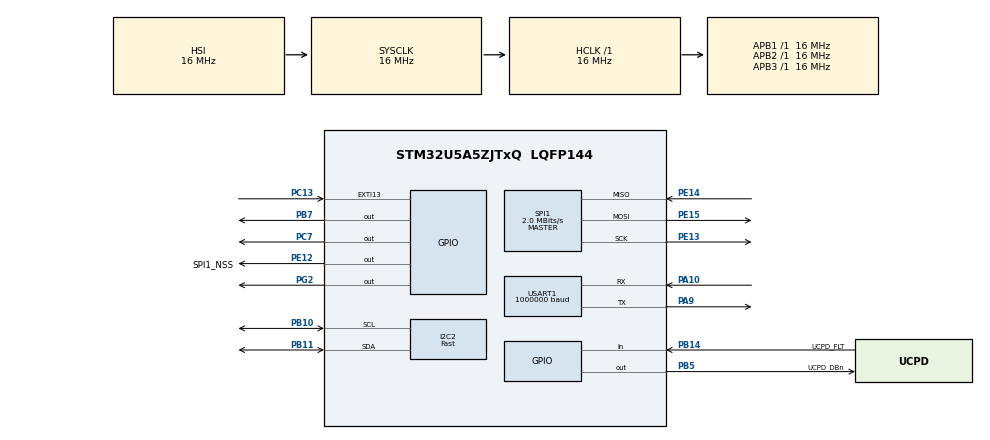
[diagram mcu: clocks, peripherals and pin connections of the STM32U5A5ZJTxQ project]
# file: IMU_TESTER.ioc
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CORTEX_M33_NS.userName=CORTEX_M33
I2C2.I2C_Speed_Mode=I2C_Fast
I2C2.Timing=0x0010061A
Mcu.Family=STM32U5
Mcu.Name=STM32U5A5ZJTxQ
Mcu.Package=LQFP144
NUCLEO-U5A5ZJ-Q.BUTTON=1
NUCLEO-U5A5ZJ-Q.LD1=true
NUCLEO-U5A5ZJ-Q.LD2=true
NUCLEO-U5A5ZJ-Q.LD3=true
NUCLEO-U5A5ZJ-Q.VCP=false
NVIC.EXTI13_IRQn=true\:0\:0\:false\:false\:true\:false\:true\:true
NVIC.PriorityGroup=NVIC_PRIORITYGROUP_4
PA10.Mode=Asynchronous
PA10.Signal=USART1_RX
PA11.Signal=USB_OTG_HS_DM
PA12.Signal=USB_OTG_HS_DP
PA13\ (JTMS/SWDIO).Mode=Trace_Asynchronous_SW
PA13\ (JTMS/SWDIO).Signal=DEBUG_JTMS-SWDIO
PA14\ (JTCK/SWCLK).Mode=Trace_Asynchronous_SW
PA14\ (JTCK/SWCLK).Signal=DEBUG_JTCK-SWCLK
PA15\ (JTDI).Signal=UCPD1_CC1
PA9.Mode=Asynchronous
PA9.Signal=USART1_TX
PB10.Mode=I2C
PB10.Signal=I2C2_SCL
PB11.Mode=I2C
PB11.Signal=I2C2_SDA
PB14.GPIO_Label=UCPD_FLT
PB14.Signal=GPIO_Input
PB15.Signal=UCPD1_CC2
PB3\ (JTDO/TRACESWO).Mode=Trace_Asynchronous_SW
PB3\ (JTDO/TRACESWO).Signal=DEBUG_JTDO-SWO
PB5.GPIO_Label=UCPD_DBn
PB5.Signal=GPIO_Output
PB7.Signal=GPIO_Output
PC13.Signal=GPXTI13
PC14-OSC32_IN\ (PC14).Mode=LSE-External-Oscillator
PC14-OSC32_IN\ (PC14).Signal=RCC_OSC32_IN
PC15-OSC32_OUT\ (PC15).Mode=LSE-External-Oscillator
PC15-OSC32_OUT\ (PC15).Signal=RCC_OSC32_OUT
PC2.GPIO_Label=VBUS_SENSE
PC2.Signal=ADC1_IN3
PC7.Signal=GPIO_Output
PE12.GPIO_Label=SPI1_NSS
PE12.Signal=GPIO_Output
PE13.Mode=Full_Duplex_Master
PE13.Signal=SPI1_SCK
PE14.Mode=Full_Duplex_Master
PE14.Signal=SPI1_MISO
PE15.Mode=Full_Duplex_Master
PE15.Signal=SPI1_MOSI
PG2.Signal=GPIO_Output
PWR.PowerMode=PWR_SMPS_SUPPLY
ProjectManager.HeapSize=0x200
ProjectManager.StackSize=0x400
ProjectManager.TargetToolchain=STM32CubeIDE
RCC.ADCFreq_Value=16000000
RCC.AHBFreq_Value=16000000
RCC.APB1Freq_Value=16000000
RCC.APB1TimFreq_Value=16000000
RCC.APB2Freq_Value=16000000
RCC.APB2TimFreq_Value=16000000
RCC.APB3Freq_Value=16000000
RCC.CortexFreq_Value=16000000
RCC.DACCLockSelectionVirtual=RCC_DAC1CLKSOURCE_LSI
RCC.EPOD_VALUE=48000000
RCC.HCLKFreq_Value=16000000
RCC.HSE_VALUE=8000000
RCC.HSI48_VALUE=48000000
RCC.HSI_VALUE=16000000
RCC.LSIDIV_VALUE=32000
RCC.MSIClockRange=RCC_MSIRANGE_0
RCC.MSI_VALUE=48000000
RCC.PLL1P=8
RCC.PLLFRACN=0
RCC.PLLN=16
RCC.SYSCLKFreq_VALUE=16000000
RCC.SYSCLKSource=RCC_SYSCLKSOURCE_HSI
RCC.VCOOutputFreq_Value=768000000
SPI1.BaudRatePrescaler=SPI_BAUDRATEPRESCALER_8
SPI1.CalculateBaudRate=2.0 MBits/s
SPI1.DataSize=SPI_DATASIZE_8BIT
SPI1.Direction=SPI_DIRECTION_2LINES
SPI1.Mode=SPI_MODE_MASTER
SPI1.NSSPMode=SPI_NSS_PULSE_DISABLE
SPI1.NSSPolarity=SPI_NSS_POLARITY_HIGH
SPI1.VirtualType=VM_MASTER
TIM2.AutoReloadPreload=TIM_AUTORELOAD_PRELOAD_ENABLE
TIM2.Prescaler=16-1
USART1.BaudRate=1000000
USART1.VirtualMode-Asynchronous=VM_ASYNC
VP_ICACHE_VS_ICACHE.Mode=DirectMappedCache
VP_LPBAMQUEUE_VS_QUEUE.Mode=QUEUEMODE
VP_LPBAM_VS_SIG1.Mode=SmartRun
VP_LPBAM_VS_SIG4.Mode=LPDMA1
VP_MEMORYMAP_VS_MEMORYMAP.Mode=CurAppReg
VP_NUCLEO-U5A5ZJ-Q_VS_BSP_COMMON.Mode=COMMON
VP_PWR_VS_DBSignals.Mode=DisableDeadBatterySignals
VP_PWR_VS_LPOM.Mode=PowerOptimisation
VP_PWR_VS_SECSignals.Mode=Security/Privilege
VP_TIM2_VS_ClockSourceINT.Mode=Internal
board=NUCLEO-U5A5ZJ-Q

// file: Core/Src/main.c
/* USER CODE BEGIN Header */
/**
  ******************************************************************************
  * @file           : main.c
  * @brief          : Main program body
  ******************************************************************************
  * @attention
  *
  * Copyright (c) 2025 STMicroelectronics.
  * All rights reserved.
  *
  * This software is licensed under terms that can be found in the LICENSE file
  * in the root directory of this software component.
  * If no LICENSE file comes with this software, it is provided AS-IS.
  *
  ******************************************************************************
  */
/* USER CODE END Header */
#include "main.h"

/* USER CODE BEGIN Includes */
#include <stdio.h>
#include <string.h>
#include <math.h>
#include "lsm6dsv_reg.h"
#include "lsm6dsox_reg.h"
#include "lis2dw12_reg.h"
#include "adxl362_hal.h"
#include "Fusion.h"
/* USER CODE END Includes */

/* USER CODE BEGIN PD */

/* Configuration Macros */
#define IMU_PERFORMANCE_MODE 1  // 0 = Absolute Lowest Power (~2Hz, battery life priority)
                                // 1 = Moderate Performance (~60Hz, balanced power/performance)
                                // 2 = High Performance (~1.5kHz+, real-time control/logging)
#define OUTPUT_FORMAT 0         // 0 = CSV Format, 1 = Human-Readable Format

/* Validate IMU_PERFORMANCE_MODE */
#if (IMU_PERFORMANCE_MODE < 0 || IMU_PERFORMANCE_MODE > 2)
  #error "Invalid IMU_PERFORMANCE_MODE. Valid values are 0 (lowest power), 1 (moderate 60Hz), or 2 (high performance)."
#endif

/* IMU Enable/Disable - Set to 0 to disable a specific IMU at compile time */
#define ENABLE_LSM6DSV  1       // Enable LSM6DSV 6-axis IMU (I2C)
#define ENABLE_LSM6DSOX 0       // Enable LSM6DSOX 6-axis IMU (I2C)
#define ENABLE_LIS2DW12 1       // Enable LIS2DW12 3-axis accelerometer (I2C)
#define ENABLE_ADXL362  1       // Enable ADXL362 3-axis accelerometer (SPI)

/* LSM6DSV Feature Enable/Disable */
#define ENABLE_LSM6DSV_SENSOR_FUSION 1  // Enable SFLP (Sensor Fusion Low Power) for game rotation, gravity vectors, and gyro bias

/* LSM6DSOX Feature Enable/Disable */
#define ENABLE_LSM6DSOX_FUSION 0        // Enable Fusion library sensor fusion for LSM6DSOX (quaternion, Euler angles, linear accel)

/* IMU I2C Addresses */
#define LSM6DSV_I2C_ADDR  (0x6B << 1)  // LSM6DSV address (SDO/SA0 pin high)
#define LSM6DSOX_I2C_ADDR (0x6A << 1)  // LSM6DSOX default address
#define LIS2DW12_I2C_ADDR (0x19 << 1)  // LIS2DW12 default address

/* USER CODE END PD */

I2C_HandleTypeDef hi2c2;

SPI_HandleTypeDef hspi1;

TIM_HandleTypeDef htim2;

UART_HandleTypeDef huart1;

/* USER CODE BEGIN PV */

/* IMU Status Tracking */
typedef struct {
  uint8_t lsm6dsv_present;   // 1 if LSM6DSV detected, 0 otherwise
  uint8_t lsm6dsox_present;  // 1 if LSM6DSOX detected, 0 otherwise
  uint8_t lis2dw12_present;  // 1 if LIS2DW12 detected, 0 otherwise
  uint8_t adxl362_present;   // 1 if ADXL362 detected, 0 otherwise
} IMU_Status_t;

static IMU_Status_t imu_status = {0};

/* Sensor device contexts */
#if ENABLE_LSM6DSV
static stmdev_ctx_t lsm6dsv_ctx;
#endif
#if ENABLE_LSM6DSOX
static stmdev_ctx_t lsm6dsox_ctx;
#endif
#if ENABLE_LIS2DW12
static stmdev_ctx_t lis2dw12_ctx;
#endif
static adxl362_ctx_t adxl362_ctx;

/* Data buffers */
#if ENABLE_LSM6DSV
static int16_t lsm6dsv_accel_raw[3];  // X, Y, Z accelerometer
static int16_t lsm6dsv_gyro_raw[3];   // X, Y, Z gyroscope
#if ENABLE_LSM6DSV_SENSOR_FUSION
static float lsm6dsv_quat[4];         // Quaternion: w, x, y, z (from game rotation vector)
#endif
#endif
#if ENABLE_LSM6DSOX
static int16_t lsm6dsox_accel_raw[3]; // X, Y, Z accelerometer
static int16_t lsm6dsox_gyro_raw[3];  // X, Y, Z gyroscope
#if ENABLE_LSM6DSOX_FUSION
static FusionAhrs lsm6dsox_fusion;    // Fusion AHRS algorithm instance
static FusionQuaternion lsm6dsox_quat; // Quaternion output (w, x, y, z)
static FusionEuler lsm6dsox_euler;    // Euler angles output (roll, pitch, yaw in degrees)
static FusionVector lsm6dsox_linear_accel;  // Linear acceleration (gravity removed)
static FusionVector lsm6dsox_earth_accel;   // Earth frame acceleration
static FusionVector lsm6dsox_gravity;       // Gravity vector
static uint32_t lsm6dsox_last_timestamp;    // Last update timestamp for delta time calculation
#endif
#endif
#if ENABLE_LIS2DW12
static int16_t lis2dw12_accel_raw[3]; // X, Y, Z accelerometer
#endif
static int16_t adxl362_accel_raw[3];  // X, Y, Z accelerometer

/* USER CODE END PV */

void SystemClock_Config(void);
static void SystemPower_Config(void);
static void MX_GPIO_Init(void);
static void MX_ICACHE_Init(void);
static void MX_I2C2_Init(void);
static void MX_TIM2_Init(void);
static void MX_SPI1_Init(void);
static void MX_USART1_UART_Init(void);
/* USER CODE BEGIN PFP */

/* I2C Platform Functions */
static int32_t platform_write(void *handle, uint8_t reg, const uint8_t *bufp, uint16_t len);
static int32_t platform_read(void *handle, uint8_t reg, uint8_t *bufp, uint16_t len);

/* Sensor Functions */
#if ENABLE_LSM6DSV
static uint8_t LSM6DSV_Init(void);   // Returns 1 if successful, 0 if failed
static void LSM6DSV_ReadData(void);
#if ENABLE_LSM6DSV_SENSOR_FUSION
static void LSM6DSV_ReadSFLP(void);
#endif
#endif
#if ENABLE_LSM6DSOX
static uint8_t LSM6DSOX_Init(void);  // Returns 1 if successful, 0 if failed
static void LSM6DSOX_ReadData(void);
#if ENABLE_LSM6DSOX_FUSION
static void LSM6DSOX_FusionInit(void);
static void LSM6DSOX_FusionUpdate(void);
#endif
#endif
#if ENABLE_LIS2DW12
static uint8_t LIS2DW12_Init(void);  // Returns 1 if successful, 0 if failed
#endif
#if ENABLE_LIS2DW12
static void LIS2DW12_ReadData(void);
#endif
static void ADXL362_ReadDataWrapper(void);

/* Utility Functions */
static uint32_t Get_Microseconds(void);
static void Print_IMU_Data(void);
static void tx_com(uint8_t *tx_buffer, uint16_t len);
static void I2C_Scan(void);

/* USER CODE END PFP */

/* USER CODE BEGIN 0 */

/* ============================================================================
 * I2C Platform Functions
 * ============================================================================ */

/**
 * @brief  Write data to I2C device
 * @param  handle: I2C device address (passed as void*)
 * @param  reg: Register address to write to
 * @param  bufp: Pointer to data buffer
 * @param  len: Number of bytes to write
 * @retval 0 on success, -1 on error
 */
static int32_t platform_write(void *handle, uint8_t reg, const uint8_t *bufp, uint16_t len)
{
  uint8_t device_addr = (uint8_t)(uintptr_t)handle;

  if (HAL_I2C_Mem_Write(&hi2c2, device_addr, reg, I2C_MEMADD_SIZE_8BIT,
                        (uint8_t*)bufp, len, 1000) != HAL_OK)
  {
    return -1;
  }
  return 0;
}

/**
 * @brief  Read data from I2C device
 * @param  handle: I2C device address (passed as void*)
 * @param  reg: Register address to read from
 * @param  bufp: Pointer to data buffer
 * @param  len: Number of bytes to read
 * @retval 0 on success, -1 on error
 */
static int32_t platform_read(void *handle, uint8_t reg, uint8_t *bufp, uint16_t len)
{
  uint8_t device_addr = (uint8_t)(uintptr_t)handle;

  if (HAL_I2C_Mem_Read(&hi2c2, device_addr, reg, I2C_MEMADD_SIZE_8BIT,
                       bufp, len, 1000) != HAL_OK)
  {
    return -1;
  }
  return 0;
}

/* ============================================================================
 * Sensor Initialization Functions
 * ============================================================================ */

#if ENABLE_LSM6DSV
/**
 * @brief  Initialize LSM6DSV 6-axis IMU (Accelerometer + Gyroscope)
 * @retval 1 if initialization successful, 0 if device not found or error
 */
static uint8_t LSM6DSV_Init(void)
{
  uint8_t whoamI = 0;

  /* Initialize sensor context */
  lsm6dsv_ctx.write_reg = platform_write;
  lsm6dsv_ctx.read_reg = platform_read;
  lsm6dsv_ctx.mdelay = HAL_Delay;
  lsm6dsv_ctx.handle = (void*)(uintptr_t)LSM6DSV_I2C_ADDR;

  /* Check device ID */
  if (lsm6dsv_device_id_get(&lsm6dsv_ctx, &whoamI) != 0)
  {
    return 0;  // Communication error
  }

  if (whoamI != LSM6DSV_ID)
  {
    return 0;  // Device not found
  }

  /* Reset device */
  lsm6dsv_reset_t rst;
  lsm6dsv_reset_set(&lsm6dsv_ctx, LSM6DSV_RESTORE_CTRL_REGS);
  do {
    lsm6dsv_reset_get(&lsm6dsv_ctx, &rst);
  } while (rst != LSM6DSV_READY);

  /* Enable Block Data Update */
  lsm6dsv_block_data_update_set(&lsm6dsv_ctx, PROPERTY_ENABLE);

  /* Configure based on performance mode */
#if (IMU_PERFORMANCE_MODE == 0)
  /* Mode 0: Absolute Lowest Power - 1.875 Hz ODR, lowest power settings */
  lsm6dsv_xl_data_rate_set(&lsm6dsv_ctx, LSM6DSV_ODR_AT_1Hz875);
  lsm6dsv_gy_data_rate_set(&lsm6dsv_ctx, LSM6DSV_ODR_AT_1Hz875);
  lsm6dsv_xl_mode_set(&lsm6dsv_ctx, LSM6DSV_XL_LOW_POWER_2_AVG_MD);  // Lowest power with 2 averages
  lsm6dsv_gy_mode_set(&lsm6dsv_ctx, LSM6DSV_GY_LOW_POWER_MD);
#elif (IMU_PERFORMANCE_MODE == 1)
  /* Mode 1: Moderate Performance - 60 Hz ODR, low power mode for balanced operation */
  lsm6dsv_xl_data_rate_set(&lsm6dsv_ctx, LSM6DSV_ODR_AT_60Hz);
  lsm6dsv_gy_data_rate_set(&lsm6dsv_ctx, LSM6DSV_ODR_AT_60Hz);
  lsm6dsv_xl_mode_set(&lsm6dsv_ctx, LSM6DSV_XL_LOW_POWER_4_AVG_MD);  // Low power with 4 averages for better SNR
  lsm6dsv_gy_mode_set(&lsm6dsv_ctx, LSM6DSV_GY_LOW_POWER_MD);
#elif (IMU_PERFORMANCE_MODE == 2)
  /* Mode 2: High Performance - 7.68 kHz ODR, high performance mode */
  lsm6dsv_xl_data_rate_set(&lsm6dsv_ctx, LSM6DSV_ODR_AT_7680Hz);
  lsm6dsv_gy_data_rate_set(&lsm6dsv_ctx, LSM6DSV_ODR_AT_7680Hz);
  lsm6dsv_xl_mode_set(&lsm6dsv_ctx, LSM6DSV_XL_HIGH_PERFORMANCE_MD);
  lsm6dsv_gy_mode_set(&lsm6dsv_ctx, LSM6DSV_GY_HIGH_PERFORMANCE_MD);
#endif

  /* Set full-scale ranges */
  lsm6dsv_xl_full_scale_set(&lsm6dsv_ctx, LSM6DSV_4g);
  lsm6dsv_gy_full_scale_set(&lsm6dsv_ctx, LSM6DSV_2000dps);

#if ENABLE_LSM6DSV_SENSOR_FUSION
  /* Configure SFLP (Sensor Fusion Low Power) for game rotation vector */

  /* Enable SFLP game rotation (6-axis fusion: accel + gyro) */
  lsm6dsv_sflp_game_rotation_set(&lsm6dsv_ctx, 1);

  /* Set SFLP ODR based on performance mode */
#if (IMU_PERFORMANCE_MODE == 0)
  lsm6dsv_sflp_data_rate_set(&lsm6dsv_ctx, LSM6DSV_SFLP_15Hz);   // Mode 0: Minimum power (15 Hz)
#elif (IMU_PERFORMANCE_MODE == 1)
  lsm6dsv_sflp_data_rate_set(&lsm6dsv_ctx, LSM6DSV_SFLP_60Hz);   // Mode 1: Moderate (60 Hz)
#elif (IMU_PERFORMANCE_MODE == 2)
  lsm6dsv_sflp_data_rate_set(&lsm6dsv_ctx, LSM6DSV_SFLP_480Hz);  // Mode 2: Maximum performance (480 Hz)
#endif

  /* Enable SFLP data in FIFO */
  lsm6dsv_fifo_sflp_raw_t sflp_fifo;
  sflp_fifo.game_rotation = 1;  // Enable game rotation vector in FIFO
  sflp_fifo.gravity = 0;        // Disable gravity vector (can enable if needed)
  sflp_fifo.gbias = 0;          // Disable gyro bias output (can enable if needed)
  lsm6dsv_fifo_sflp_batch_set(&lsm6dsv_ctx, sflp_fifo);

  /* Configure FIFO mode to continuous */
  lsm6dsv_fifo_mode_set(&lsm6dsv_ctx, LSM6DSV_STREAM_MODE);
#endif

  return 1;  // Initialization successful
}
#endif

#if ENABLE_LSM6DSOX
/**
 * @brief  Initialize LSM6DSOX 6-axis IMU (Accelerometer + Gyroscope)
 * @retval 1 if initialization successful, 0 if device not found or error
 */
static uint8_t LSM6DSOX_Init(void)
{
  uint8_t whoamI = 0;

  /* Initialize sensor context */
  lsm6dsox_ctx.write_reg = platform_write;
  lsm6dsox_ctx.read_reg = platform_read;
  lsm6dsox_ctx.mdelay = HAL_Delay;
  lsm6dsox_ctx.handle = (void*)(uintptr_t)LSM6DSOX_I2C_ADDR;

  /* Check device ID */
  if (lsm6dsox_device_id_get(&lsm6dsox_ctx, &whoamI) != 0)
  {
    return 0;  // Communication error
  }

  if (whoamI != LSM6DSOX_ID)
  {
    return 0;  // Device not found
  }

  /* Reset device */
  lsm6dsox_reset_set(&lsm6dsox_ctx, PROPERTY_ENABLE);
  uint8_t rst;
  do {
    lsm6dsox_reset_get(&lsm6dsox_ctx, &rst);
  } while (rst);

  /* Enable Block Data Update */
  lsm6dsox_block_data_update_set(&lsm6dsox_ctx, PROPERTY_ENABLE);

  /* Configure based on performance mode */
#if (IMU_PERFORMANCE_MODE == 0)
  /* Mode 0: Absolute Lowest Power - 12.5 Hz ODR, low normal power */
  lsm6dsox_xl_data_rate_set(&lsm6dsox_ctx, LSM6DSOX_XL_ODR_12Hz5);
  lsm6dsox_gy_data_rate_set(&lsm6dsox_ctx, LSM6DSOX_GY_ODR_12Hz5);
  lsm6dsox_xl_power_mode_set(&lsm6dsox_ctx, LSM6DSOX_LOW_NORMAL_POWER_MD);
  lsm6dsox_gy_power_mode_set(&lsm6dsox_ctx, LSM6DSOX_GY_NORMAL);
#elif (IMU_PERFORMANCE_MODE == 1)
  /* Mode 1: Moderate Performance - 52 Hz ODR, normal power mode */
  lsm6dsox_xl_data_rate_set(&lsm6dsox_ctx, LSM6DSOX_XL_ODR_52Hz);
  lsm6dsox_gy_data_rate_set(&lsm6dsox_ctx, LSM6DSOX_GY_ODR_52Hz);
  lsm6dsox_xl_power_mode_set(&lsm6dsox_ctx, LSM6DSOX_LOW_NORMAL_POWER_MD);
  lsm6dsox_gy_power_mode_set(&lsm6dsox_ctx, LSM6DSOX_GY_NORMAL);
#elif (IMU_PERFORMANCE_MODE == 2)
  /* Mode 2: High Performance - 6.667 kHz ODR, high performance mode */
  lsm6dsox_xl_data_rate_set(&lsm6dsox_ctx, LSM6DSOX_XL_ODR_6667Hz);
  lsm6dsox_gy_data_rate_set(&lsm6dsox_ctx, LSM6DSOX_GY_ODR_6667Hz);
  lsm6dsox_xl_power_mode_set(&lsm6dsox_ctx, LSM6DSOX_HIGH_PERFORMANCE_MD);
  lsm6dsox_gy_power_mode_set(&lsm6dsox_ctx, LSM6DSOX_GY_HIGH_PERFORMANCE);
#endif

  /* Set full-scale ranges */
  lsm6dsox_xl_full_scale_set(&lsm6dsox_ctx, LSM6DSOX_4g);
  lsm6dsox_gy_full_scale_set(&lsm6dsox_ctx, LSM6DSOX_2000dps);

  return 1;  // Initialization successful
}
#endif

#if ENABLE_LIS2DW12
/**
 * @brief  Initialize LIS2DW12 3-axis Accelerometer
 * @retval 1 if initialization successful, 0 if device not found or error
 */
static uint8_t LIS2DW12_Init(void)
{
  uint8_t whoamI = 0;

  /* Initialize sensor context */
  lis2dw12_ctx.write_reg = platform_write;
  lis2dw12_ctx.read_reg = platform_read;
  lis2dw12_ctx.mdelay = HAL_Delay;
  lis2dw12_ctx.handle = (void*)(uintptr_t)LIS2DW12_I2C_ADDR;

  /* Check device ID */
  if (lis2dw12_device_id_get(&lis2dw12_ctx, &whoamI) != 0)
  {
    return 0;  // Communication error
  }

  if (whoamI != LIS2DW12_ID)
  {
    return 0;  // Device not found
  }

  /* Reset device */
  lis2dw12_reset_set(&lis2dw12_ctx, PROPERTY_ENABLE);
  uint8_t rst;
  do {
    lis2dw12_reset_get(&lis2dw12_ctx, &rst);
  } while (rst);

  /* Enable Block Data Update */
  lis2dw12_block_data_update_set(&lis2dw12_ctx, PROPERTY_ENABLE);

  /* Configure based on performance mode */
#if (IMU_PERFORMANCE_MODE == 0)
  /* Mode 0: Absolute Lowest Power - 1.6 Hz ODR, continuous low power mode 2 */
  lis2dw12_data_rate_set(&lis2dw12_ctx, LIS2DW12_XL_ODR_1Hz6_LP_ONLY);
  lis2dw12_power_mode_set(&lis2dw12_ctx, LIS2DW12_CONT_LOW_PWR_2);  // Lowest continuous power mode
#elif (IMU_PERFORMANCE_MODE == 1)
  /* Mode 1: Moderate Performance - 50 Hz ODR, low power 12-bit mode */
  lis2dw12_data_rate_set(&lis2dw12_ctx, LIS2DW12_XL_ODR_50Hz);
  lis2dw12_power_mode_set(&lis2dw12_ctx, LIS2DW12_CONT_LOW_PWR_12bit);  // Low power with 12-bit resolution
#elif (IMU_PERFORMANCE_MODE == 2)
  /* Mode 2: High Performance - 1.6 kHz ODR, high performance mode */
  lis2dw12_data_rate_set(&lis2dw12_ctx, LIS2DW12_XL_ODR_1k6Hz);
  lis2dw12_power_mode_set(&lis2dw12_ctx, LIS2DW12_HIGH_PERFORMANCE);
#endif

  /* Set full-scale range */
  lis2dw12_full_scale_set(&lis2dw12_ctx, LIS2DW12_4g);

  return 1;  // Initialization successful
}
#endif

/* ============================================================================
 * Sensor Data Reading Functions
 * ============================================================================ */

#if ENABLE_LSM6DSV
/**
 * @brief  Read data from LSM6DSV (Accelerometer + Gyroscope)
 */
static void LSM6DSV_ReadData(void)
{
  lsm6dsv_all_sources_t status;

  /* Check if new data is available */
  lsm6dsv_all_sources_get(&lsm6dsv_ctx, &status);

  if (status.drdy_xl || status.drdy_gy)
  {
    /* Read accelerometer and gyroscope data (6 bytes each) */
    lsm6dsv_acceleration_raw_get(&lsm6dsv_ctx, lsm6dsv_accel_raw);
    lsm6dsv_angular_rate_raw_get(&lsm6dsv_ctx, lsm6dsv_gyro_raw);
  }
}

#if ENABLE_LSM6DSV_SENSOR_FUSION
/**
 * @brief  Read SFLP (Sensor Fusion) data from LSM6DSV FIFO
 */
static void LSM6DSV_ReadSFLP(void)
{
  lsm6dsv_fifo_status_t fifo_status;
  lsm6dsv_fifo_out_raw_t fifo_data;
  uint16_t fifo_level;

  /* Get FIFO status */
  lsm6dsv_fifo_status_get(&lsm6dsv_ctx, &fifo_status);
  fifo_level = fifo_status.fifo_level;

  /* Read FIFO data and look for SFLP game rotation vector tag */
  while (fifo_level > 0)
  {
    /* Read one FIFO entry (7 bytes: 1 tag + 6 data) */
    lsm6dsv_fifo_out_raw_get(&lsm6dsv_ctx, &fifo_data);
    fifo_level--;

    /* Check if this is SFLP game rotation vector data (tag 0x13) */
    if (fifo_data.tag == LSM6DSV_SFLP_GAME_ROTATION_VECTOR_TAG)
    {
      /* Game rotation vector is a compressed quaternion (3 components)
       * The 6 bytes contain 3x 16-bit signed values representing x, y, z
       * The w component is derived: w = sqrt(1 - x^2 - y^2 - z^2)
       * Values are normalized such that sqrt(x^2 + y^2 + z^2 + w^2) = 1
       */
      int16_t quat_raw[3];

      /* Extract 16-bit quaternion components (little-endian) */
      quat_raw[0] = (int16_t)(fifo_data.data[1] << 8) | fifo_data.data[0];  // x
      quat_raw[1] = (int16_t)(fifo_data.data[3] << 8) | fifo_data.data[2];  // y
      quat_raw[2] = (int16_t)(fifo_data.data[5] << 8) | fifo_data.data[4];  // z

      /* Convert to float (normalized to ±1, scale factor is 2^14 = 16384) */
      lsm6dsv_quat[1] = (float)quat_raw[0] / 16384.0f;  // x
      lsm6dsv_quat[2] = (float)quat_raw[1] / 16384.0f;  // y
      lsm6dsv_quat[3] = (float)quat_raw[2] / 16384.0f;  // z

      /* Calculate w component: w = sqrt(1 - x^2 - y^2 - z^2) */
      float sum_sq = lsm6dsv_quat[1] * lsm6dsv_quat[1] +
                     lsm6dsv_quat[2] * lsm6dsv_quat[2] +
                     lsm6dsv_quat[3] * lsm6dsv_quat[3];

      if (sum_sq < 1.0f)
      {
        lsm6dsv_quat[0] = sqrtf(1.0f - sum_sq);  // w
      }
      else
      {
        lsm6dsv_quat[0] = 0.0f;  // Handle edge case
      }

      /* We found and processed the SFLP data, can break */
      break;
    }
  }
}
#endif

#endif

#if ENABLE_LSM6DSOX
/**
 * @brief  Read data from LSM6DSOX (Accelerometer + Gyroscope)
 */
static void LSM6DSOX_ReadData(void)
{
  lsm6dsox_status_reg_t status;

  /* Check if new data is available */
  lsm6dsox_status_reg_get(&lsm6dsox_ctx, &status);

  if (status.xlda || status.gda)
  {
    /* Read accelerometer and gyroscope data (6 bytes each) */
    lsm6dsox_acceleration_raw_get(&lsm6dsox_ctx, lsm6dsox_accel_raw);
    lsm6dsox_angular_rate_raw_get(&lsm6dsox_ctx, lsm6dsox_gyro_raw);
  }
}

#if ENABLE_LSM6DSOX_FUSION
/**
 * @brief  Initialize Fusion library for LSM6DSOX sensor fusion
 */
static void LSM6DSOX_FusionInit(void)
{
  /* Initialize AHRS algorithm */
  FusionAhrsInitialise(&lsm6dsox_fusion);

  /* Configure AHRS settings */
  FusionAhrsSettings settings = {
    .convention = FusionConventionNed,           // NED (North-East-Down) coordinate convention
    .gain = 0.5f,                                 // Algorithm gain (0.5 recommended for most applications)
    .gyroscopeRange = 2000.0f,                    // Gyroscope range in degrees/s (matches hardware config)
    .accelerationRejection = 10.0f,               // Acceleration rejection threshold in degrees
    .magneticRejection = 0.0f,                    // No magnetometer available
    .recoveryTriggerPeriod = 5,                   // Recovery trigger period in seconds
  };

  FusionAhrsSetSettings(&lsm6dsox_fusion, &settings);

  /* Initialize timestamp */
  lsm6dsox_last_timestamp = Get_Microseconds();
}

/**
 * @brief  Update Fusion algorithm with LSM6DSOX sensor data
 */
static void LSM6DSOX_FusionUpdate(void)
{
  /* Get current timestamp and calculate delta time */
  uint32_t current_timestamp = Get_Microseconds();
  float delta_time = (float)(current_timestamp - lsm6dsox_last_timestamp) / 1000000.0f;  // Convert microseconds to seconds
  lsm6dsox_last_timestamp = current_timestamp;

  /* Convert sensor data from mg/mdps to g/dps (Fusion library expects these units) */
  float accel_x_g = lsm6dsox_from_fs4_to_mg(lsm6dsox_accel_raw[0]) / 1000.0f;
  float accel_y_g = lsm6dsox_from_fs4_to_mg(lsm6dsox_accel_raw[1]) / 1000.0f;
  float accel_z_g = lsm6dsox_from_fs4_to_mg(lsm6dsox_accel_raw[2]) / 1000.0f;

  float gyro_x_dps = lsm6dsox_from_fs2000_to_mdps(lsm6dsox_gyro_raw[0]) / 1000.0f;
  float gyro_y_dps = lsm6dsox_from_fs2000_to_mdps(lsm6dsox_gyro_raw[1]) / 1000.0f;
  float gyro_z_dps = lsm6dsox_from_fs2000_to_mdps(lsm6dsox_gyro_raw[2]) / 1000.0f;

  /* Create FusionVector structures for sensor data */
  FusionVector gyroscope = {
    .axis.x = gyro_x_dps,
    .axis.y = gyro_y_dps,
    .axis.z = gyro_z_dps
  };

  FusionVector accelerometer = {
    .axis.x = accel_x_g,
    .axis.y = accel_y_g,
    .axis.z = accel_z_g
  };

  /* Update AHRS algorithm (no magnetometer) */
  FusionAhrsUpdateNoMagnetometer(&lsm6dsox_fusion, gyroscope, accelerometer, delta_time);

  /* Retrieve fusion outputs */
  lsm6dsox_quat = FusionAhrsGetQuaternion(&lsm6dsox_fusion);
  lsm6dsox_euler = FusionQuaternionToEuler(lsm6dsox_quat);
  lsm6dsox_linear_accel = FusionAhrsGetLinearAcceleration(&lsm6dsox_fusion);
  lsm6dsox_earth_accel = FusionAhrsGetEarthAcceleration(&lsm6dsox_fusion);
  lsm6dsox_gravity = FusionAhrsGetGravity(&lsm6dsox_fusion);
}
#endif

#endif

#if ENABLE_LIS2DW12
/**
 * @brief  Read data from LIS2DW12 (Accelerometer)
 */
static void LIS2DW12_ReadData(void)
{
  lis2dw12_status_t status;

  /* Check if new data is available */
  lis2dw12_status_reg_get(&lis2dw12_ctx, &status);

  if (status.drdy)
  {
    /* Read accelerometer data */
    lis2dw12_acceleration_raw_get(&lis2dw12_ctx, lis2dw12_accel_raw);
  }
}
#endif

/**
 * @brief  Read data from ADXL362 (Accelerometer via SPI)
 */
static void ADXL362_ReadDataWrapper(void)
{
  /* ADXL362 sampling rate depends on IMU_PERFORMANCE_MODE:
   * Mode 0: Wakeup mode (6 Hz, ultralow noise)
   * Mode 1: Measurement mode (100 Hz, normal noise) */
  /* Using full 12-bit resolution from 16-bit registers */
  ADXL362_ReadData(&adxl362_ctx, adxl362_accel_raw);
}

/* ============================================================================
 * Utility Functions
 * ============================================================================ */

/**
 * @brief  Get microsecond timestamp from TIM2
 * @retval Current timestamp in microseconds
 */
static uint32_t Get_Microseconds(void)
{
  return __HAL_TIM_GET_COUNTER(&htim2);
}

/**
 * @brief  Transmit data via UART (USART1 at 1Mbit)
 * @param  tx_buffer: Pointer to data buffer
 * @param  len: Number of bytes to transmit
 */
static void tx_com(uint8_t *tx_buffer, uint16_t len)
{
  HAL_UART_Transmit(&huart1, tx_buffer, len, HAL_MAX_DELAY);
}

/**
 * @brief  Scan I2C bus for devices and print results
 */
static void I2C_Scan(void)
{
  char buffer[128];
  uint8_t devices_found = 0;

  snprintf(buffer, sizeof(buffer), "\r\n=== I2C Bus Scan ===\r\n");
  tx_com((uint8_t*)buffer, strlen(buffer));

  snprintf(buffer, sizeof(buffer), "Scanning I2C2 (0x08 to 0x77)...\r\n");
  tx_com((uint8_t*)buffer, strlen(buffer));

  for (uint8_t addr = 0x08; addr <= 0x77; addr++)
  {
    /* Try to communicate with device at this address */
    if (HAL_I2C_IsDeviceReady(&hi2c2, addr << 1, 1, 10) == HAL_OK)
    {
      snprintf(buffer, sizeof(buffer), "  Found device at 0x%02X", addr);
      tx_com((uint8_t*)buffer, strlen(buffer));

      /* Identify known devices */
      if (addr == 0x6B)
      {
        snprintf(buffer, sizeof(buffer), " (LSM6DSV - 6-axis IMU)\r\n");
      }
      else if (addr == 0x19)
      {
        snprintf(buffer, sizeof(buffer), " (LIS2DW12 - 3-axis Accel)\r\n");
      }
      else if (addr == 0x6A || addr == 0x6C)
      {
        snprintf(buffer, sizeof(buffer), " (LSM6DSV/LSM6DSOX - 6-axis IMU)\r\n");
      }
      else if (addr == 0x18)
      {
        snprintf(buffer, sizeof(buffer), " (Possible LIS2DW12 alternate)\r\n");
      }
      else
      {
        snprintf(buffer, sizeof(buffer), " (Unknown device)\r\n");
      }
      tx_com((uint8_t*)buffer, strlen(buffer));
      devices_found++;
    }
  }

  if (devices_found == 0)
  {
    snprintf(buffer, sizeof(buffer), "  No I2C devices found!\r\n");
    tx_com((uint8_t*)buffer, strlen(buffer));
  }
  else
  {
    snprintf(buffer, sizeof(buffer), "\r\nTotal devices found: %d\r\n", devices_found);
    tx_com((uint8_t*)buffer, strlen(buffer));
  }

  snprintf(buffer, sizeof(buffer), "===================\r\n\r\n");
  tx_com((uint8_t*)buffer, strlen(buffer));
}

/**
 * @brief  Print IMU data with timestamp in selected format
 * @note   Each IMU outputs its own line with format: IMU_ID,timestamp,data...
 */
static void Print_IMU_Data(void)
{
  char buffer[256];
  uint32_t timestamp = Get_Microseconds();

#if (OUTPUT_FORMAT == 0)
  /* CSV Format - one line per IMU with identifier */

#if ENABLE_LSM6DSV
  /* LSM6DSV output: LSM6DSV,timestamp,ax,ay,az,gx,gy,gz */
  if (imu_status.lsm6dsv_present)
  {
    float lsm_ax = lsm6dsv_from_fs4_to_mg(lsm6dsv_accel_raw[0]);
    float lsm_ay = lsm6dsv_from_fs4_to_mg(lsm6dsv_accel_raw[1]);
    float lsm_az = lsm6dsv_from_fs4_to_mg(lsm6dsv_accel_raw[2]);
    float lsm_gx = lsm6dsv_from_fs2000_to_mdps(lsm6dsv_gyro_raw[0]);
    float lsm_gy = lsm6dsv_from_fs2000_to_mdps(lsm6dsv_gyro_raw[1]);
    float lsm_gz = lsm6dsv_from_fs2000_to_mdps(lsm6dsv_gyro_raw[2]);

    snprintf(buffer, sizeof(buffer),
             "LSM6DSV,%lu,%.2f,%.2f,%.2f,%.2f,%.2f,%.2f\r\n",
             timestamp, lsm_ax, lsm_ay, lsm_az, lsm_gx, lsm_gy, lsm_gz);
    tx_com((uint8_t*)buffer, strlen(buffer));

#if ENABLE_LSM6DSV_SENSOR_FUSION
    /* LSM6DSV_SFLP output: LSM6DSV_SFLP,timestamp,qw,qx,qy,qz */
    snprintf(buffer, sizeof(buffer),
             "LSM6DSV_SFLP,%lu,%.4f,%.4f,%.4f,%.4f\r\n",
             timestamp, lsm6dsv_quat[0], lsm6dsv_quat[1], lsm6dsv_quat[2], lsm6dsv_quat[3]);
    tx_com((uint8_t*)buffer, strlen(buffer));
#endif
  }
#endif

#if ENABLE_LSM6DSOX
  /* LSM6DSOX output: LSM6DSOX,timestamp,ax,ay,az,gx,gy,gz */
  if (imu_status.lsm6dsox_present)
  {
    float lsmox_ax = lsm6dsox_from_fs4_to_mg(lsm6dsox_accel_raw[0]);
    float lsmox_ay = lsm6dsox_from_fs4_to_mg(lsm6dsox_accel_raw[1]);
    float lsmox_az = lsm6dsox_from_fs4_to_mg(lsm6dsox_accel_raw[2]);
    float lsmox_gx = lsm6dsox_from_fs2000_to_mdps(lsm6dsox_gyro_raw[0]);
    float lsmox_gy = lsm6dsox_from_fs2000_to_mdps(lsm6dsox_gyro_raw[1]);
    float lsmox_gz = lsm6dsox_from_fs2000_to_mdps(lsm6dsox_gyro_raw[2]);

    snprintf(buffer, sizeof(buffer),
             "LSM6DSOX,%lu,%.2f,%.2f,%.2f,%.2f,%.2f,%.2f\r\n",
             timestamp, lsmox_ax, lsmox_ay, lsmox_az, lsmox_gx, lsmox_gy, lsmox_gz);
    tx_com((uint8_t*)buffer, strlen(buffer));

#if ENABLE_LSM6DSOX_FUSION
    /* LSM6DSOX_FUSION_QUAT output: LSM6DSOX_FUSION_QUAT,timestamp,qw,qx,qy,qz */
    snprintf(buffer, sizeof(buffer),
             "LSM6DSOX_FUSION_QUAT,%lu,%.4f,%.4f,%.4f,%.4f\r\n",
             timestamp, lsm6dsox_quat.element.w, lsm6dsox_quat.element.x,
             lsm6dsox_quat.element.y, lsm6dsox_quat.element.z);
    tx_com((uint8_t*)buffer, strlen(buffer));

    /* LSM6DSOX_FUSION_EULER output: LSM6DSOX_FUSION_EULER,timestamp,roll,pitch,yaw */
    snprintf(buffer, sizeof(buffer),
             "LSM6DSOX_FUSION_EULER,%lu,%.2f,%.2f,%.2f\r\n",
             timestamp, lsm6dsox_euler.angle.roll, lsm6dsox_euler.angle.pitch, lsm6dsox_euler.angle.yaw);
    tx_com((uint8_t*)buffer, strlen(buffer));

    /* LSM6DSOX_FUSION_LINACC output: LSM6DSOX_FUSION_LINACC,timestamp,x,y,z (g) */
    snprintf(buffer, sizeof(buffer),
             "LSM6DSOX_FUSION_LINACC,%lu,%.4f,%.4f,%.4f\r\n",
             timestamp, lsm6dsox_linear_accel.axis.x, lsm6dsox_linear_accel.axis.y, lsm6dsox_linear_accel.axis.z);
    tx_com((uint8_t*)buffer, strlen(buffer));

    /* LSM6DSOX_FUSION_EARTHACC output: LSM6DSOX_FUSION_EARTHACC,timestamp,x,y,z (g) */
    snprintf(buffer, sizeof(buffer),
             "LSM6DSOX_FUSION_EARTHACC,%lu,%.4f,%.4f,%.4f\r\n",
             timestamp, lsm6dsox_earth_accel.axis.x, lsm6dsox_earth_accel.axis.y, lsm6dsox_earth_accel.axis.z);
    tx_com((uint8_t*)buffer, strlen(buffer));

    /* LSM6DSOX_FUSION_GRAVITY output: LSM6DSOX_FUSION_GRAVITY,timestamp,x,y,z (g) */
    snprintf(buffer, sizeof(buffer),
             "LSM6DSOX_FUSION_GRAVITY,%lu,%.4f,%.4f,%.4f\r\n",
             timestamp, lsm6dsox_gravity.axis.x, lsm6dsox_gravity.axis.y, lsm6dsox_gravity.axis.z);
    tx_com((uint8_t*)buffer, strlen(buffer));
#endif
  }
#endif

#if ENABLE_LIS2DW12
  /* LIS2DW12 output: LIS2DW12,timestamp,ax,ay,az */
  if (imu_status.lis2dw12_present)
  {
    float lis_ax = lis2dw12_from_fs4_to_mg(lis2dw12_accel_raw[0]);
    float lis_ay = lis2dw12_from_fs4_to_mg(lis2dw12_accel_raw[1]);
    float lis_az = lis2dw12_from_fs4_to_mg(lis2dw12_accel_raw[2]);

    snprintf(buffer, sizeof(buffer),
             "LIS2DW12,%lu,%.2f,%.2f,%.2f\r\n",
             timestamp, lis_ax, lis_ay, lis_az);
    tx_com((uint8_t*)buffer, strlen(buffer));
  }
#endif

  /* ADXL362 output: ADXL362,timestamp,ax,ay,az */
  if (imu_status.adxl362_present)
  {
    float adxl_ax = ADXL362_RawToMg(adxl362_accel_raw[0], ADXL362_RANGE_2G);
    float adxl_ay = ADXL362_RawToMg(adxl362_accel_raw[1], ADXL362_RANGE_2G);
    float adxl_az = ADXL362_RawToMg(adxl362_accel_raw[2], ADXL362_RANGE_2G);

    snprintf(buffer, sizeof(buffer),
             "ADXL362,%lu,%.2f,%.2f,%.2f\r\n",
             timestamp, adxl_ax, adxl_ay, adxl_az);
    tx_com((uint8_t*)buffer, strlen(buffer));
  }

#else
  /* Human-Readable Format */

#if ENABLE_LSM6DSV
  if (imu_status.lsm6dsv_present)
  {
    float lsm_ax = lsm6dsv_from_fs4_to_mg(lsm6dsv_accel_raw[0]);
    float lsm_ay = lsm6dsv_from_fs4_to_mg(lsm6dsv_accel_raw[1]);
    float lsm_az = lsm6dsv_from_fs4_to_mg(lsm6dsv_accel_raw[2]);
    float lsm_gx = lsm6dsv_from_fs2000_to_mdps(lsm6dsv_gyro_raw[0]);
    float lsm_gy = lsm6dsv_from_fs2000_to_mdps(lsm6dsv_gyro_raw[1]);
    float lsm_gz = lsm6dsv_from_fs2000_to_mdps(lsm6dsv_gyro_raw[2]);

    snprintf(buffer, sizeof(buffer),
             "[%lu us] LSM6DSV: A(%.2f,%.2f,%.2f)mg G(%.2f,%.2f,%.2f)mdps\r\n",
             timestamp, lsm_ax, lsm_ay, lsm_az, lsm_gx, lsm_gy, lsm_gz);
    tx_com((uint8_t*)buffer, strlen(buffer));

#if ENABLE_LSM6DSV_SENSOR_FUSION
    snprintf(buffer, sizeof(buffer),
             "[%lu us] LSM6DSV_SFLP: Q(%.4f,%.4f,%.4f,%.4f)\r\n",
             timestamp, lsm6dsv_quat[0], lsm6dsv_quat[1], lsm6dsv_quat[2], lsm6dsv_quat[3]);
    tx_com((uint8_t*)buffer, strlen(buffer));
#endif
  }
#endif

#if ENABLE_LSM6DSOX
  if (imu_status.lsm6dsox_present)
  {
    float lsmox_ax = lsm6dsox_from_fs4_to_mg(lsm6dsox_accel_raw[0]);
    float lsmox_ay = lsm6dsox_from_fs4_to_mg(lsm6dsox_accel_raw[1]);
    float lsmox_az = lsm6dsox_from_fs4_to_mg(lsm6dsox_accel_raw[2]);
    float lsmox_gx = lsm6dsox_from_fs2000_to_mdps(lsm6dsox_gyro_raw[0]);
    float lsmox_gy = lsm6dsox_from_fs2000_to_mdps(lsm6dsox_gyro_raw[1]);
    float lsmox_gz = lsm6dsox_from_fs2000_to_mdps(lsm6dsox_gyro_raw[2]);

    snprintf(buffer, sizeof(buffer),
             "[%lu us] LSM6DSOX: A(%.2f,%.2f,%.2f)mg G(%.2f,%.2f,%.2f)mdps\r\n",
             timestamp, lsmox_ax, lsmox_ay, lsmox_az, lsmox_gx, lsmox_gy, lsmox_gz);
    tx_com((uint8_t*)buffer, strlen(buffer));

#if ENABLE_LSM6DSOX_FUSION
    snprintf(buffer, sizeof(buffer),
             "[%lu us] LSM6DSOX_FUSION: Q(%.4f,%.4f,%.4f,%.4f)\r\n",
             timestamp, lsm6dsox_quat.element.w, lsm6dsox_quat.element.x,
             lsm6dsox_quat.element.y, lsm6dsox_quat.element.z);
    tx_com((uint8_t*)buffer, strlen(buffer));

    snprintf(buffer, sizeof(buffer),
             "[%lu us] LSM6DSOX_FUSION: Euler(R:%.2f, P:%.2f, Y:%.2f)deg\r\n",
             timestamp, lsm6dsox_euler.angle.roll, lsm6dsox_euler.angle.pitch, lsm6dsox_euler.angle.yaw);
    tx_com((uint8_t*)buffer, strlen(buffer));

    snprintf(buffer, sizeof(buffer),
             "[%lu us] LSM6DSOX_FUSION: LinAcc(%.4f,%.4f,%.4f)g\r\n",
             timestamp, lsm6dsox_linear_accel.axis.x, lsm6dsox_linear_accel.axis.y, lsm6dsox_linear_accel.axis.z);
    tx_com((uint8_t*)buffer, strlen(buffer));

    snprintf(buffer, sizeof(buffer),
             "[%lu us] LSM6DSOX_FUSION: EarthAcc(%.4f,%.4f,%.4f)g\r\n",
             timestamp, lsm6dsox_earth_accel.axis.x, lsm6dsox_earth_accel.axis.y, lsm6dsox_earth_accel.axis.z);
    tx_com((uint8_t*)buffer, strlen(buffer));

    snprintf(buffer, sizeof(buffer),
             "[%lu us] LSM6DSOX_FUSION: Gravity(%.4f,%.4f,%.4f)g\r\n",
             timestamp, lsm6dsox_gravity.axis.x, lsm6dsox_gravity.axis.y, lsm6dsox_gravity.axis.z);
    tx_com((uint8_t*)buffer, strlen(buffer));
#endif
  }
#endif

#if ENABLE_LIS2DW12
  if (imu_status.lis2dw12_present)
  {
    float lis_ax = lis2dw12_from_fs4_to_mg(lis2dw12_accel_raw[0]);
    float lis_ay = lis2dw12_from_fs4_to_mg(lis2dw12_accel_raw[1]);
    float lis_az = lis2dw12_from_fs4_to_mg(lis2dw12_accel_raw[2]);

    snprintf(buffer, sizeof(buffer),
             "[%lu us] LIS2DW12: A(%.2f,%.2f,%.2f)mg\r\n",
             timestamp, lis_ax, lis_ay, lis_az);
    tx_com((uint8_t*)buffer, strlen(buffer));
  }
#endif

  if (imu_status.adxl362_present)
  {
    float adxl_ax = ADXL362_RawToMg(adxl362_accel_raw[0], ADXL362_RANGE_2G);
    float adxl_ay = ADXL362_RawToMg(adxl362_accel_raw[1], ADXL362_RANGE_2G);
    float adxl_az = ADXL362_RawToMg(adxl362_accel_raw[2], ADXL362_RANGE_2G);

    snprintf(buffer, sizeof(buffer),
             "[%lu us] ADXL362: A(%.2f,%.2f,%.2f)mg\r\n",
             timestamp, adxl_ax, adxl_ay, adxl_az);
    tx_com((uint8_t*)buffer, strlen(buffer));
  }

#endif
}

/**
 * @brief  Retargets the C library printf function to the UART.
 * @param  ch: Character to send
 * @retval Character sent
 * @note   This enables printf() to work via USART1 at 1Mbit
 */
#ifdef __GNUC__
/* For GCC/G++ compiler */
int __io_putchar(int ch)
{
  HAL_UART_Transmit(&huart1, (uint8_t *)&ch, 1, HAL_MAX_DELAY);
  return ch;
}
#elif defined(__ICCARM__)
/* For IAR compiler */
int putchar(int ch)
{
  HAL_UART_Transmit(&huart1, (uint8_t *)&ch, 1, HAL_MAX_DELAY);
  return ch;
}
#elif defined(__CC_ARM) || defined(__ARMCC_VERSION)
/* For Keil ARM/ARM Compiler 5/6 */
int fputc(int ch, FILE *f)
{
  HAL_UART_Transmit(&huart1, (uint8_t *)&ch, 1, HAL_MAX_DELAY);
  return ch;
}
#endif

/* USER CODE END 0 */

int main(void)
{

  /* MCU Configuration--------------------------------------------------------*/

  /* Reset of all peripherals, Initializes the Flash interface and the Systick. */
  HAL_Init();

  /* Configure the System Power */
  SystemPower_Config();

  /* Configure the system clock */
  SystemClock_Config();

  /* Initialize all configured peripherals */
  MX_GPIO_Init();
  MX_ICACHE_Init();
  MX_I2C2_Init();
  MX_TIM2_Init();
  MX_SPI1_Init();
  MX_USART1_UART_Init();
  /* USER CODE BEGIN 2 */

  /* Set ADXL362 CS pin HIGH (idle state) - must be done after GPIO init */
  HAL_GPIO_WritePin(SPI1_NSS_GPIO_Port, SPI1_NSS_Pin, GPIO_PIN_SET);

  /* Wait for ADXL362 to power up (datasheet: max 6ms settling time) */
  HAL_Delay(50);

  /* Start the microsecond timer */
  HAL_TIM_Base_Start(&htim2);

  /* USART1 already initialized at 1Mbit via MX_USART1_UART_Init() */

  /* Wait for peripherals to stabilize */
  HAL_Delay(100);

  /* Scan I2C bus for connected devices */
  I2C_Scan();

  /* Initialize IMU sensors - attempt each one and track which are present */
  char buffer[256];

#if ENABLE_LSM6DSV
  imu_status.lsm6dsv_present = LSM6DSV_Init();
#else
  imu_status.lsm6dsv_present = 0;
#endif

#if ENABLE_LSM6DSOX
  imu_status.lsm6dsox_present = LSM6DSOX_Init();
#if ENABLE_LSM6DSOX_FUSION
  if (imu_status.lsm6dsox_present)
  {
    LSM6DSOX_FusionInit();
  }
#endif
#else
  imu_status.lsm6dsox_present = 0;
#endif

#if ENABLE_LIS2DW12
  imu_status.lis2dw12_present = LIS2DW12_Init();
#else
  imu_status.lis2dw12_present = 0;
#endif

#if ENABLE_ADXL362
  /* Initialize ADXL362 context */
  adxl362_ctx.hspi = &hspi1;
  adxl362_ctx.cs_port = ADXL362_CS_PORT;
  adxl362_ctx.cs_pin = ADXL362_CS_PIN;

  /* Debug: Try to read device ID registers */
  snprintf(buffer, sizeof(buffer), "\r\nADXL362 Debug: Attempting SPI communication...\r\n");
  tx_com((uint8_t*)buffer, strlen(buffer));

  uint8_t devid_ad, devid_mst, partid;
  ADXL362_ReadDeviceIDs(&adxl362_ctx, &devid_ad, &devid_mst, &partid);

  snprintf(buffer, sizeof(buffer), "  Read DEVID_AD:  0x%02X (expected 0xAD)\r\n", devid_ad);
  tx_com((uint8_t*)buffer, strlen(buffer));
  snprintf(buffer, sizeof(buffer), "  Read DEVID_MST: 0x%02X (expected 0x1D)\r\n", devid_mst);
  tx_com((uint8_t*)buffer, strlen(buffer));
  snprintf(buffer, sizeof(buffer), "  Read PARTID:    0x%02X (expected 0xF2)\r\n", partid);
  tx_com((uint8_t*)buffer, strlen(buffer));

  /* Try basic device detection */
  if (ADXL362_CheckDevice(&adxl362_ctx))
  {
    snprintf(buffer, sizeof(buffer), "ADXL362 device ID verified! Initializing...\r\n");
    tx_com((uint8_t*)buffer, strlen(buffer));

    imu_status.adxl362_present = ADXL362_Init(&adxl362_ctx);

    if (imu_status.adxl362_present)
    {
      snprintf(buffer, sizeof(buffer), "ADXL362 initialization SUCCESS!\r\n");
      tx_com((uint8_t*)buffer, strlen(buffer));
    }
    else
    {
      snprintf(buffer, sizeof(buffer), "ADXL362 initialization FAILED (reset or config error)\r\n");
      tx_com((uint8_t*)buffer, strlen(buffer));
    }
  }
  else
  {
    snprintf(buffer, sizeof(buffer), "ADXL362 device ID check FAILED - no communication\r\n");
    tx_com((uint8_t*)buffer, strlen(buffer));
    imu_status.adxl362_present = 0;
  }
#else
  imu_status.adxl362_present = 0;
#endif

  /* Print detected IMU status */
  snprintf(buffer, sizeof(buffer), "\r\n=== IMU Detection Results ===\r\n");
  tx_com((uint8_t*)buffer, strlen(buffer));

  snprintf(buffer, sizeof(buffer), "LSM6DSV (6-axis I2C):    %s\r\n",
           imu_status.lsm6dsv_present ? "DETECTED" : "NOT FOUND");
  tx_com((uint8_t*)buffer, strlen(buffer));

  snprintf(buffer, sizeof(buffer), "LSM6DSOX (6-axis I2C):   %s\r\n",
           imu_status.lsm6dsox_present ? "DETECTED" : "NOT FOUND");
  tx_com((uint8_t*)buffer, strlen(buffer));

  snprintf(buffer, sizeof(buffer), "LIS2DW12 (3-axis I2C):   %s\r\n",
           imu_status.lis2dw12_present ? "DETECTED" : "NOT FOUND");
  tx_com((uint8_t*)buffer, strlen(buffer));

  snprintf(buffer, sizeof(buffer), "ADXL362 (3-axis SPI):    %s\r\n",
           imu_status.adxl362_present ? "DETECTED" : "NOT FOUND");
  tx_com((uint8_t*)buffer, strlen(buffer));

  snprintf(buffer, sizeof(buffer), "==============================\r\n\r\n");
  tx_com((uint8_t*)buffer, strlen(buffer));

  /* Check if at least one IMU is present */
  if (!imu_status.lsm6dsv_present && !imu_status.lsm6dsox_present && !imu_status.lis2dw12_present && !imu_status.adxl362_present)
  {
    snprintf(buffer, sizeof(buffer), "ERROR: No IMUs detected! Check connections.\r\n");
    tx_com((uint8_t*)buffer, strlen(buffer));
  }

  /* Print CSV header or startup message */
#if (OUTPUT_FORMAT == 0)
  snprintf(buffer, sizeof(buffer), "Starting data acquisition (CSV format)...\r\n\r\n");
  tx_com((uint8_t*)buffer, strlen(buffer));
#else
  snprintf(buffer, sizeof(buffer), "Starting data acquisition...\r\n\r\n");
  tx_com((uint8_t*)buffer, strlen(buffer));
#endif

  /* USER CODE END 2 */

  /* Initialize leds */
  BSP_LED_Init(LED_GREEN);
  BSP_LED_Init(LED_BLUE);
  BSP_LED_Init(LED_RED);

  /* Initialize USER push-button, will be used to trigger an interrupt each time it's pressed.*/
  BSP_PB_Init(BUTTON_USER, BUTTON_MODE_EXTI);

  /* Infinite loop */
  /* USER CODE BEGIN WHILE */
  while (1)
  {
    /* Read data only from detected IMUs */
#if ENABLE_LSM6DSV
    if (imu_status.lsm6dsv_present)
    {
      LSM6DSV_ReadData();
#if ENABLE_LSM6DSV_SENSOR_FUSION
      LSM6DSV_ReadSFLP();
#endif
    }
#endif

#if ENABLE_LSM6DSOX
    if (imu_status.lsm6dsox_present)
    {
      LSM6DSOX_ReadData();
#if ENABLE_LSM6DSOX_FUSION
      LSM6DSOX_FusionUpdate();
#endif
    }
#endif

#if ENABLE_LIS2DW12
    if (imu_status.lis2dw12_present)
    {
      LIS2DW12_ReadData();
    }
#endif

    if (imu_status.adxl362_present)
    {
      ADXL362_ReadDataWrapper();
    }

    /* Print the timestamped data (only outputs data from detected IMUs) */
    if (imu_status.lsm6dsv_present || imu_status.lsm6dsox_present || imu_status.lis2dw12_present || imu_status.adxl362_present)
    {
      Print_IMU_Data();
    }

    /* Small delay to prevent overwhelming the system */
    /* Note: In low power mode, ADXL362 samples at 6 Hz (~167ms period) */
//    HAL_Delay(1);  // 1ms delay -> ~1 kHz loop rate

    /* USER CODE END WHILE */

  }
}

void SystemClock_Config(void)
{
  RCC_OscInitTypeDef RCC_OscInitStruct = {0};
  RCC_ClkInitTypeDef RCC_ClkInitStruct = {0};

  /** Configure the main internal regulator output voltage
  */
  if (HAL_PWREx_ControlVoltageScaling(PWR_REGULATOR_VOLTAGE_SCALE4) != HAL_OK)
  {
    Error_Handler();
  }

  /** Initializes the CPU, AHB and APB buses clocks
  */
  RCC_OscInitStruct.OscillatorType = RCC_OSCILLATORTYPE_HSI;
  RCC_OscInitStruct.HSIState = RCC_HSI_ON;
  RCC_OscInitStruct.HSICalibrationValue = RCC_HSICALIBRATION_DEFAULT;
  RCC_OscInitStruct.PLL.PLLState = RCC_PLL_NONE;
  if (HAL_RCC_OscConfig(&RCC_OscInitStruct) != HAL_OK)
  {
    Error_Handler();
  }

  /** Initializes the CPU, AHB and APB buses clocks
  */
  RCC_ClkInitStruct.ClockType = RCC_CLOCKTYPE_HCLK|RCC_CLOCKTYPE_SYSCLK
                              |RCC_CLOCKTYPE_PCLK1|RCC_CLOCKTYPE_PCLK2
                              |RCC_CLOCKTYPE_PCLK3;
  RCC_ClkInitStruct.SYSCLKSource = RCC_SYSCLKSOURCE_HSI;
  RCC_ClkInitStruct.AHBCLKDivider = RCC_SYSCLK_DIV1;
  RCC_ClkInitStruct.APB1CLKDivider = RCC_HCLK_DIV1;
  RCC_ClkInitStruct.APB2CLKDivider = RCC_HCLK_DIV1;
  RCC_ClkInitStruct.APB3CLKDivider = RCC_HCLK_DIV1;

  if (HAL_RCC_ClockConfig(&RCC_ClkInitStruct, FLASH_LATENCY_1) != HAL_OK)
  {
    Error_Handler();
  }
}

/**
  * @brief Power Configuration
  * @retval None
  */
static void SystemPower_Config(void)
{

  /*
   * Disable the internal Pull-Up in Dead Battery pins of UCPD peripheral
   */
  HAL_PWREx_DisableUCPDDeadBattery();

  /*
   * Switch to SMPS regulator instead of LDO
   */
  if (HAL_PWREx_ConfigSupply(PWR_SMPS_SUPPLY) != HAL_OK)
  {
    Error_Handler();
  }
}

static void MX_I2C2_Init(void)
{

  hi2c2.Instance = I2C2;
  hi2c2.Init.Timing = 0x0010061A;
  hi2c2.Init.OwnAddress1 = 0;
  hi2c2.Init.AddressingMode = I2C_ADDRESSINGMODE_7BIT;
  hi2c2.Init.DualAddressMode = I2C_DUALADDRESS_DISABLE;
  hi2c2.Init.OwnAddress2 = 0;
  hi2c2.Init.OwnAddress2Masks = I2C_OA2_NOMASK;
  hi2c2.Init.GeneralCallMode = I2C_GENERALCALL_DISABLE;
  hi2c2.Init.NoStretchMode = I2C_NOSTRETCH_DISABLE;
  if (HAL_I2C_Init(&hi2c2) != HAL_OK)
  {
    Error_Handler();
  }

  /** Configure Analogue filter
  */
  if (HAL_I2CEx_ConfigAnalogFilter(&hi2c2, I2C_ANALOGFILTER_ENABLE) != HAL_OK)
  {
    Error_Handler();
  }

  /** Configure Digital filter
  */
  if (HAL_I2CEx_ConfigDigitalFilter(&hi2c2, 0) != HAL_OK)
  {
    Error_Handler();
  }

}

static void MX_ICACHE_Init(void)
{

  /** Enable instruction cache in 1-way (direct mapped cache)
  */
  if (HAL_ICACHE_ConfigAssociativityMode(ICACHE_1WAY) != HAL_OK)
  {
    Error_Handler();
  }
  if (HAL_ICACHE_Enable() != HAL_OK)
  {
    Error_Handler();
  }

}

static void MX_SPI1_Init(void)
{

  SPI_AutonomousModeConfTypeDef HAL_SPI_AutonomousMode_Cfg_Struct = {0};

  /* SPI1 parameter configuration*/
  hspi1.Instance = SPI1;
  hspi1.Init.Mode = SPI_MODE_MASTER;
  hspi1.Init.Direction = SPI_DIRECTION_2LINES;
  hspi1.Init.DataSize = SPI_DATASIZE_8BIT;
  hspi1.Init.CLKPolarity = SPI_POLARITY_LOW;
  hspi1.Init.CLKPhase = SPI_PHASE_1EDGE;
  hspi1.Init.NSS = SPI_NSS_SOFT;
  hspi1.Init.BaudRatePrescaler = SPI_BAUDRATEPRESCALER_8;
  hspi1.Init.FirstBit = SPI_FIRSTBIT_MSB;
  hspi1.Init.TIMode = SPI_TIMODE_DISABLE;
  hspi1.Init.CRCCalculation = SPI_CRCCALCULATION_DISABLE;
  hspi1.Init.CRCPolynomial = 0x7;
  hspi1.Init.NSSPMode = SPI_NSS_PULSE_DISABLE;
  hspi1.Init.NSSPolarity = SPI_NSS_POLARITY_HIGH;
  hspi1.Init.FifoThreshold = SPI_FIFO_THRESHOLD_01DATA;
  hspi1.Init.MasterSSIdleness = SPI_MASTER_SS_IDLENESS_00CYCLE;
  hspi1.Init.MasterInterDataIdleness = SPI_MASTER_INTERDATA_IDLENESS_00CYCLE;
  hspi1.Init.MasterReceiverAutoSusp = SPI_MASTER_RX_AUTOSUSP_DISABLE;
  hspi1.Init.MasterKeepIOState = SPI_MASTER_KEEP_IO_STATE_DISABLE;
  hspi1.Init.IOSwap = SPI_IO_SWAP_DISABLE;
  hspi1.Init.ReadyMasterManagement = SPI_RDY_MASTER_MANAGEMENT_INTERNALLY;
  hspi1.Init.ReadyPolarity = SPI_RDY_POLARITY_HIGH;
  if (HAL_SPI_Init(&hspi1) != HAL_OK)
  {
    Error_Handler();
  }
  HAL_SPI_AutonomousMode_Cfg_Struct.TriggerState = SPI_AUTO_MODE_DISABLE;
  HAL_SPI_AutonomousMode_Cfg_Struct.TriggerSelection = SPI_GRP1_GPDMA_CH0_TCF_TRG;
  HAL_SPI_AutonomousMode_Cfg_Struct.TriggerPolarity = SPI_TRIG_POLARITY_RISING;
  if (HAL_SPIEx_SetConfigAutonomousMode(&hspi1, &HAL_SPI_AutonomousMode_Cfg_Struct) != HAL_OK)
  {
    Error_Handler();
  }

}

static void MX_TIM2_Init(void)
{

  TIM_ClockConfigTypeDef sClockSourceConfig = {0};
  TIM_MasterConfigTypeDef sMasterConfig = {0};

  htim2.Instance = TIM2;
  htim2.Init.Prescaler = 16-1;
  htim2.Init.CounterMode = TIM_COUNTERMODE_UP;
  htim2.Init.Period = 4294967295;
  htim2.Init.ClockDivision = TIM_CLOCKDIVISION_DIV1;
  htim2.Init.AutoReloadPreload = TIM_AUTORELOAD_PRELOAD_ENABLE;
  if (HAL_TIM_Base_Init(&htim2) != HAL_OK)
  {
    Error_Handler();
  }
  sClockSourceConfig.ClockSource = TIM_CLOCKSOURCE_INTERNAL;
  if (HAL_TIM_ConfigClockSource(&htim2, &sClockSourceConfig) != HAL_OK)
  {
    Error_Handler();
  }
  sMasterConfig.MasterOutputTrigger = TIM_TRGO_RESET;
  sMasterConfig.MasterSlaveMode = TIM_MASTERSLAVEMODE_DISABLE;
  if (HAL_TIMEx_MasterConfigSynchronization(&htim2, &sMasterConfig) != HAL_OK)
  {
    Error_Handler();
  }

}

static void MX_USART1_UART_Init(void)
{

  huart1.Instance = USART1;
  huart1.Init.BaudRate = 1000000;
  huart1.Init.WordLength = UART_WORDLENGTH_8B;
  huart1.Init.StopBits = UART_STOPBITS_1;
  huart1.Init.Parity = UART_PARITY_NONE;
  huart1.Init.Mode = UART_MODE_TX_RX;
  huart1.Init.HwFlowCtl = UART_HWCONTROL_NONE;
  huart1.Init.OverSampling = UART_OVERSAMPLING_16;
  huart1.Init.OneBitSampling = UART_ONE_BIT_SAMPLE_DISABLE;
  huart1.Init.ClockPrescaler = UART_PRESCALER_DIV1;
  huart1.AdvancedInit.AdvFeatureInit = UART_ADVFEATURE_NO_INIT;
  if (HAL_UART_Init(&huart1) != HAL_OK)
  {
    Error_Handler();
  }
  if (HAL_UARTEx_SetTxFifoThreshold(&huart1, UART_TXFIFO_THRESHOLD_1_8) != HAL_OK)
  {
    Error_Handler();
  }
  if (HAL_UARTEx_SetRxFifoThreshold(&huart1, UART_RXFIFO_THRESHOLD_1_8) != HAL_OK)
  {
    Error_Handler();
  }
  if (HAL_UARTEx_DisableFifoMode(&huart1) != HAL_OK)
  {
    Error_Handler();
  }

}

static void MX_GPIO_Init(void)
{
  GPIO_InitTypeDef GPIO_InitStruct = {0};

  /* GPIO Ports Clock Enable */
  __HAL_RCC_GPIOC_CLK_ENABLE();
  __HAL_RCC_GPIOE_CLK_ENABLE();
  __HAL_RCC_GPIOB_CLK_ENABLE();
  __HAL_RCC_GPIOA_CLK_ENABLE();

  /*Configure GPIO pin Output Level */
  HAL_GPIO_WritePin(SPI1_NSS_GPIO_Port, SPI1_NSS_Pin, GPIO_PIN_RESET);

  /*Configure GPIO pin Output Level */
  HAL_GPIO_WritePin(UCPD_DBn_GPIO_Port, UCPD_DBn_Pin, GPIO_PIN_RESET);

  /*Configure GPIO pin : VBUS_SENSE_Pin */
  GPIO_InitStruct.Pin = VBUS_SENSE_Pin;
  GPIO_InitStruct.Mode = GPIO_MODE_ANALOG;
  GPIO_InitStruct.Pull = GPIO_NOPULL;
  HAL_GPIO_Init(VBUS_SENSE_GPIO_Port, &GPIO_InitStruct);

  /*Configure GPIO pin : SPI1_NSS_Pin */
  GPIO_InitStruct.Pin = SPI1_NSS_Pin;
  GPIO_InitStruct.Mode = GPIO_MODE_OUTPUT_PP;
  GPIO_InitStruct.Pull = GPIO_NOPULL;
  GPIO_InitStruct.Speed = GPIO_SPEED_FREQ_LOW;
  HAL_GPIO_Init(SPI1_NSS_GPIO_Port, &GPIO_InitStruct);

  /*Configure GPIO pin : UCPD_FLT_Pin */
  GPIO_InitStruct.Pin = UCPD_FLT_Pin;
  GPIO_InitStruct.Mode = GPIO_MODE_INPUT;
  GPIO_InitStruct.Pull = GPIO_NOPULL;
  HAL_GPIO_Init(UCPD_FLT_GPIO_Port, &GPIO_InitStruct);

  /*Configure GPIO pin : PB15 */
  GPIO_InitStruct.Pin = GPIO_PIN_15;
  GPIO_InitStruct.Mode = GPIO_MODE_ANALOG;
  GPIO_InitStruct.Pull = GPIO_NOPULL;
  HAL_GPIO_Init(GPIOB, &GPIO_InitStruct);

  /*Configure GPIO pins : PA11 PA12 */
  GPIO_InitStruct.Pin = GPIO_PIN_11|GPIO_PIN_12;
  GPIO_InitStruct.Mode = GPIO_MODE_AF_PP;
  GPIO_InitStruct.Pull = GPIO_NOPULL;
  GPIO_InitStruct.Speed = GPIO_SPEED_FREQ_LOW;
  HAL_GPIO_Init(GPIOA, &GPIO_InitStruct);

  /*Configure GPIO pin : PA15 */
  GPIO_InitStruct.Pin = GPIO_PIN_15;
  GPIO_InitStruct.Mode = GPIO_MODE_ANALOG;
  GPIO_InitStruct.Pull = GPIO_NOPULL;
  HAL_GPIO_Init(GPIOA, &GPIO_InitStruct);

  /*Configure GPIO pin : UCPD_DBn_Pin */
  GPIO_InitStruct.Pin = UCPD_DBn_Pin;
  GPIO_InitStruct.Mode = GPIO_MODE_OUTPUT_PP;
  GPIO_InitStruct.Pull = GPIO_NOPULL;
  GPIO_InitStruct.Speed = GPIO_SPEED_FREQ_LOW;
  HAL_GPIO_Init(UCPD_DBn_GPIO_Port, &GPIO_InitStruct);

}

void Error_Handler(void)
{
  __disable_irq();
  while (1)
  {
  }
}
